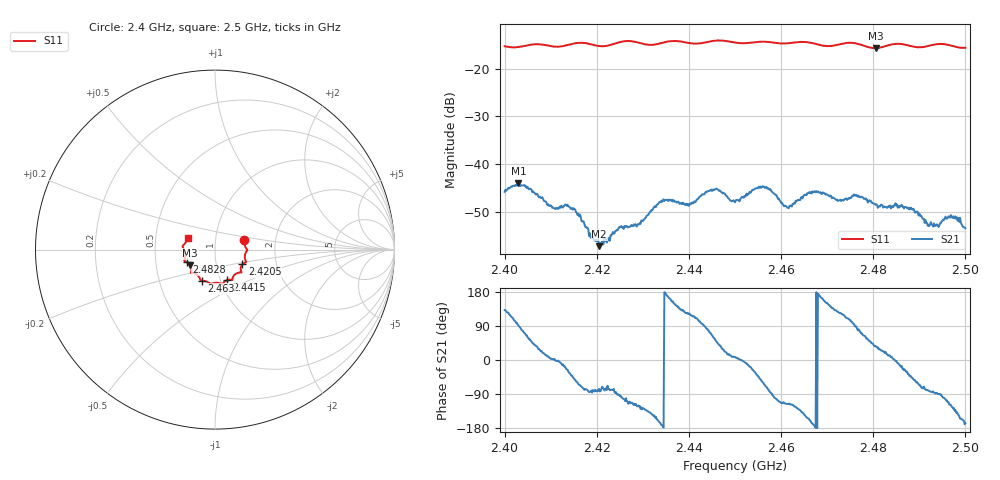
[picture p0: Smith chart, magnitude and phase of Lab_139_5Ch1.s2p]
# Hz S RI R 50
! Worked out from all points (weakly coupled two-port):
!   601 points, 2.4 GHz to 2.5 GHz, reference 50 ohm
!   highest |S21| = -44.00 dB at 2.403 GHz (marker M1); lowest = -57.2 dB at 2.4205 GHz (marker M2)
!   lowest |S11| = -15.7 dB at 2.4805 GHz (marker M3), VSWR 1.39, Z = 37.3 - j6.69 ohm
!   |S11| at or under -10 dB: start of sweep to end of sweep
!   S12 and S22 are empty: the file has one direction only
!   S11 on the Smith chart (normalised r, x): 2.4 GHz: 1.38, +0.15; 2.4205 GHz: 1.34, -0.23; 2.4415 GHz: 1.07, -0.38; 2.463 GHz: 0.82, -0.29; 2.4828 GHz: 0.72, -0.10; 2.5 GHz: 0.73, +0.10
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2.4e9  0.1635 0.0518  -0.00342 0.00383  0 0  0 0
2.403e9  0.1673 0.0188  -0.00014 0.00631  0 0  0 0
2.410833e9  0.1685 -0.0239  0.00342 0.000178  0 0  0 0
2.413667e9  0.1681 -0.0547  0.0034 -0.00163  0 0  0 0
2.416667e9  0.173 -0.0699  0.00086 -0.00241  0 0  0 0
2.4205e9  0.1521 -0.0817  0.000329 -0.00135  0 0  0 0
2.429e9  0.1377 -0.1274  -0.00117 -0.00201  0 0  0 0
2.433333e9  0.1004 -0.1516  -0.0036 -0.0013  0 0  0 0
2.4415e9  0.0656 -0.1706  -0.00141 0.00381  0 0  0 0
2.445833e9  0.0416 -0.1924  0.00348 0.00423  0 0  0 0
2.45e9  0.0242 -0.1864  0.00395 0.000579  0 0  0 0
2.456333e9  -0.0228 -0.1904  0.00252 -0.00524  0 0  0 0
2.461167e9  -0.0575 -0.1747  -0.00155 -0.00325  0 0  0 0
2.463e9  -0.0721 -0.1737  -0.00208 -0.00326  0 0  0 0
2.466667e9  -0.0821 -0.1669  -0.00482 -0.00113  0 0  0 0
2.4805e9  -0.1388 -0.0872  0.003 0.00227  0 0  0 0
2.482833e9  -0.1586 -0.0701  0.00339 0.00101  0 0  0 0
2.483333e9  -0.1625 -0.068  0.00357 0.000743  0 0  0 0
2.488333e9  -0.1661 -0.043  0.00233 -0.00246  0 0  0 0
2.4925e9  -0.1755 0.0057  0.000253 -0.00246  0 0  0 0
2.497333e9  -0.1689 0.0324  -0.00175 -0.00225  0 0  0 0
2.5e9  -0.1528 0.0644  -0.00208 -0.000473  0 0  0 0
